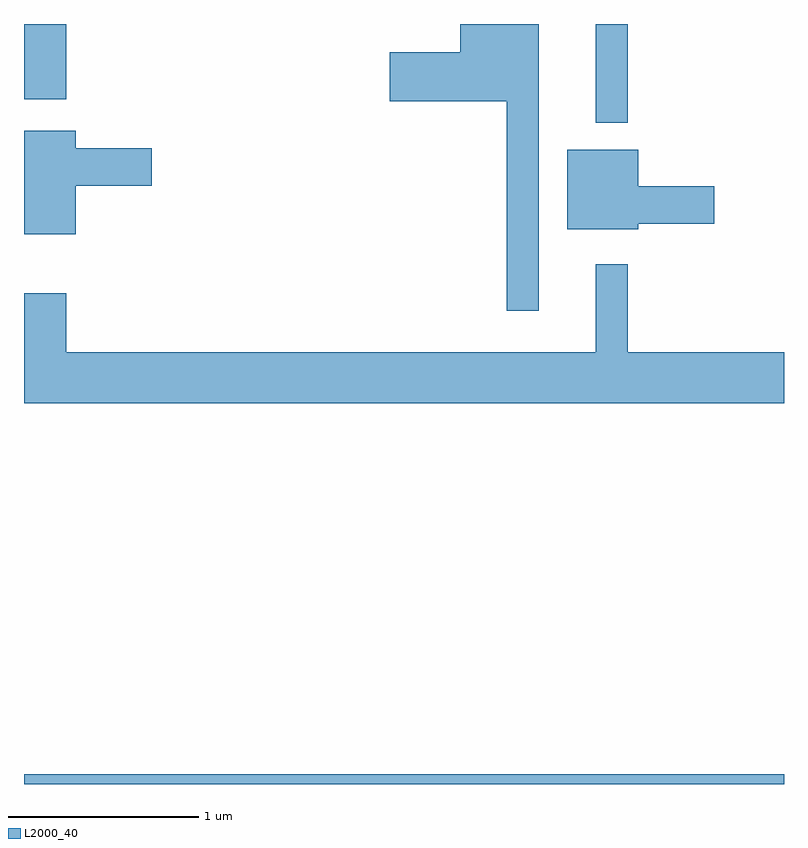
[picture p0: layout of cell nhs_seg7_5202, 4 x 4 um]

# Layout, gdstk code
import gdstk
lib = gdstk.Library(unit=1e-6, precision=1e-09)
def R(c, l, rs):  # rectangles x0, y0, x1, y1
    for r in rs: c.add(gdstk.rectangle(r[:2], r[2:], *l))
def P(c, l, *ps):  # polygons
    for p in ps: c.add(gdstk.Polygon(p, *l))
L2000_40 = (2000, 40)

nhs_seg7_5202 = lib.new_cell('nhs_seg7_5202')
R(nhs_seg7_5202, L2000_40, [(343.611,1772.252,347.611,1772.304), (346.621,1775.733,346.789,1776.252), (343.611,1775.856,343.834,1776.252)])
P(nhs_seg7_5202, L2000_40, [(346.319,1776.252),(345.906,1776.252),(345.906,1776.104),(345.536,1776.104),(345.536,1775.846),(346.151,1775.846),(346.151,1774.743),(346.319,1774.743)],
  [(343.884,1775.401),(344.284,1775.401),(344.284,1775.599),(343.884,1775.599),(343.884,1775.689),(343.611,1775.689),(343.611,1775.146),(343.884,1775.146)],
  [(346.844,1775.201),(347.244,1775.201),(347.244,1775.399),(346.844,1775.399),(346.844,1775.589),(346.471,1775.589),(346.471,1775.171),(346.844,1775.171)],
  [(347.611,1774.524),(346.789,1774.524),(346.789,1774.988),(346.621,1774.988),(346.621,1774.524),(343.834,1774.524),(343.834,1774.834),(343.611,1774.834),(343.611,1774.256),(347.611,1774.256)])

lib.write_gds('nhs_seg7_5202.gds')
